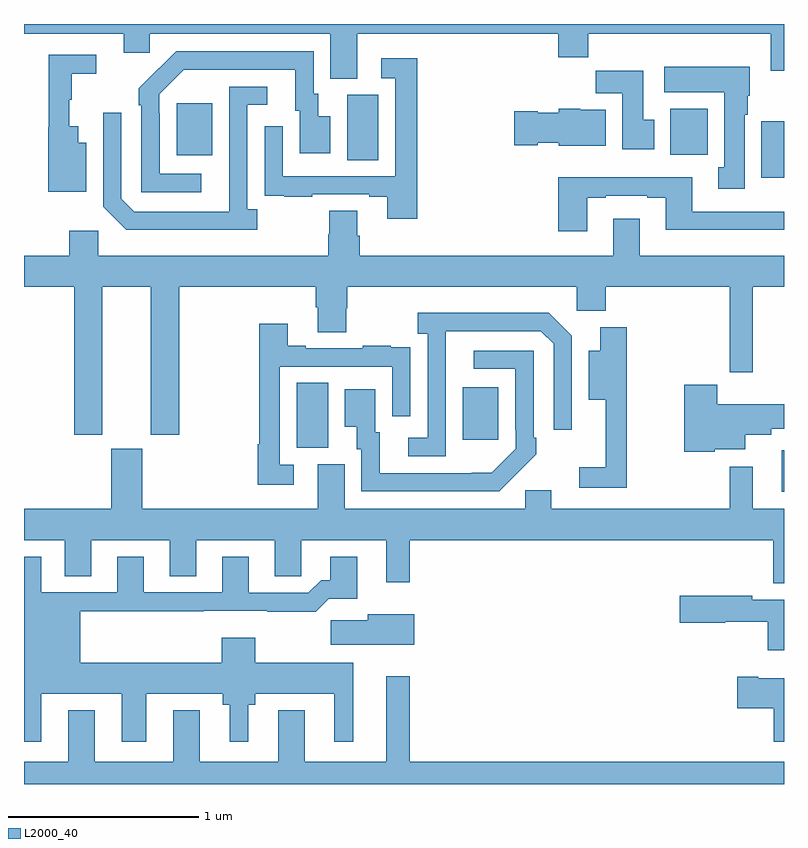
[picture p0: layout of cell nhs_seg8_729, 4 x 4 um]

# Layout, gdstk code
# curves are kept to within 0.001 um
import gdstk
lib = gdstk.Library(unit=1e-6, precision=1e-09)
def R(c, l, rs):  # rectangles x0, y0, x1, y1
    for r in rs: c.add(gdstk.rectangle(r[:2], r[2:], *l))
def P(c, l, *ps):  # polygons
    for p in ps: c.add(gdstk.Polygon(p, *l))
L2000_40 = (2000, 40)

nhs_seg8_729 = lib.new_cell('nhs_seg8_729')
R(nhs_seg8_729, L2000_40, [(162.989,1099.437,163,1099.657), (160.436,1099.669,160.6,1100.012), (161.309,1099.713,161.497,1099.987), (162.881,1101.092,163,1101.388), (160.7,1101.184,160.864,1101.528), (159.803,1101.209,159.991,1101.484), (162.401,1101.212,162.598,1101.454)])
P(nhs_seg8_729, L2000_40, [(160.753,1101.848),(161.813,1101.848),(161.813,1101.724),(161.969,1101.724),(161.969,1101.848),(162.929,1101.848),(162.929,1101.654),(163,1101.654),(163,1101.9),(159,1101.9),(159,1101.848),(159.524,1101.848),(159.524,1101.75),(159.663,1101.75),(159.663,1101.848),(160.613,1101.848),(160.613,1101.613),(160.753,1101.613)],
  [(159.934,1101.111),(159.714,1101.111),(159.714,1101.431),(159.711,1101.431),(159.711,1101.531),(159.84,1101.66),(160.427,1101.66),(160.427,1101.444),(160.451,1101.444),(160.451,1101.219),(160.612,1101.219),(160.612,1101.415),(160.549,1101.415),(160.549,1101.534),(160.524,1101.534),(160.524,1101.756),(159.8,1101.756),(159.603,1101.561),(159.603,1101.473),(159.618,1101.473),(159.618,1101.015),(159.934,1101.015)],
  [(159.328,1101.274),(159.286,1101.274),(159.286,1101.361),(159.239,1101.361),(159.239,1101.501),(159.25,1101.501),(159.25,1101.637),(159.379,1101.637),(159.379,1101.738),(159.129,1101.738),(159.129,1101.357),(159.128,1101.357),(159.128,1101.017),(159.328,1101.017)],
  [(161.069,1101.721),(160.881,1101.721),(160.881,1101.615),(160.953,1101.615),(160.953,1101.099),(160.362,1101.099),(160.362,1101.361),(160.266,1101.361),(160.266,1101.106),(160.267,1101.106),(160.267,1100.997),(160.369,1100.997),(160.369,1100.991),(160.517,1100.991),(160.517,1101.003),(160.817,1101.003),(160.817,1100.991),(160.913,1100.991),(160.913,1100.874),(161.069,1100.874)],
  [(162.793,1101.422),(162.808,1101.422),(162.808,1101.522),(162.82,1101.522),(162.82,1101.676),(162.369,1101.676),(162.369,1101.542),(162.686,1101.542),(162.686,1101.146),(162.653,1101.146),(162.653,1101.033),(162.793,1101.033)],
  [(162.316,1101.396),(162.259,1101.396),(162.259,1101.655),(162.01,1101.655),(162.01,1101.536),(162.149,1101.536),(162.149,1101.24),(162.316,1101.24)],
  [(160.228,1100.926),(160.176,1100.926),(160.176,1101.474),(160.279,1101.474),(160.279,1101.57),(160.08,1101.57),(160.079,1100.913),(159.579,1100.913),(159.513,1100.979),(159.513,1101.433),(159.417,1101.433),(159.417,1100.937),(159.538,1100.816),(160.228,1100.816)],
  [(162.061,1101.448),(161.928,1101.448),(161.928,1101.454),(161.814,1101.454),(161.814,1101.433),(161.703,1101.433),(161.703,1101.441),(161.58,1101.441),(161.58,1101.263),(161.703,1101.263),(161.703,1101.275),(161.814,1101.275),(161.814,1101.26),(162.061,1101.26)],
  [(161.965,1100.985),(162.061,1100.985),(162.061,1100.997),(162.281,1100.997),(162.281,1100.985),(162.377,1100.985),(162.377,1100.816),(163,1100.816),(163,1100.913),(162.517,1100.913),(162.517,1101.094),(161.813,1101.094),(161.813,1100.808),(161.965,1100.808)],
  [(161.91,1100.39),(162.062,1100.39),(162.062,1100.516),(162.714,1100.516),(162.714,1100.067),(162.835,1100.067),(162.835,1100.516),(163,1100.516),(163,1100.68),(162.241,1100.68),(162.241,1100.875),(162.101,1100.875),(162.101,1100.68),(160.766,1100.68),(160.766,1100.786),(160.753,1100.786),(160.753,1100.918),(160.606,1100.918),(160.606,1100.793),(160.601,1100.793),(160.601,1100.68),(159.39,1100.68),(159.39,1100.812),(159.239,1100.812),(159.239,1100.68),(159,1100.68),(159,1100.516),(159.265,1100.516),(159.265,1099.737),(159.412,1099.737),(159.412,1100.516),(159.668,1100.516),(159.668,1099.737),(159.816,1099.737),(159.816,1100.516),(160.535,1100.516),(160.535,1100.41),(160.547,1100.41),(160.547,1100.278),(160.695,1100.278),(160.695,1100.403),(160.7,1100.403),(160.7,1100.516),(161.91,1100.516)],
  [(161.22,1100.083),(161.221,1100.283),(161.721,1100.283),(161.787,1100.217),(161.787,1099.764),(161.883,1099.764),(161.883,1100.259),(161.762,1100.38),(161.073,1100.38),(161.073,1100.27),(161.124,1100.27),(161.124,1099.722),(161.022,1099.722),(161.022,1099.626),(161.22,1099.626)],
  [(160.42,1099.581),(160.347,1099.581),(160.347,1100.097),(160.938,1100.097),(160.938,1099.836),(161.034,1099.836),(161.034,1100.09),(161.033,1100.09),(161.033,1100.199),(160.931,1100.199),(160.931,1100.206),(160.783,1100.206),(160.783,1100.193),(160.483,1100.193),(160.483,1100.206),(160.387,1100.206),(160.387,1100.323),(160.239,1100.323),(160.239,1099.688),(160.231,1099.688),(160.231,1099.476),(160.42,1099.476)],
  [(162.172,1100.305),(162.032,1100.305),(162.032,1100.179),(161.972,1100.179),(161.972,1099.922),(162.062,1099.922),(162.062,1099.567),(161.922,1099.567),(161.922,1099.458),(162.172,1099.458)],
  [(161.591,1099.531),(161.592,1099.53),(161.697,1099.635),(161.697,1099.723),(161.682,1099.723),(161.682,1100.181),(161.367,1100.181),(161.367,1100.085),(161.586,1100.085),(161.586,1099.765),(161.589,1099.765),(161.589,1099.665),(161.461,1099.537),(160.873,1099.536),(160.873,1099.752),(160.849,1099.752),(160.849,1099.978),(160.688,1099.978),(160.688,1099.781),(160.751,1099.781),(160.751,1099.662),(160.776,1099.662),(160.776,1099.44),(161.5,1099.44)],
  [(162.636,1099.661),(162.796,1099.661),(162.796,1099.739),(162.934,1099.739),(162.934,1099.77),(163,1099.77),(163,1099.9),(162.648,1099.9),(162.648,1100.002),(162.475,1100.002),(162.475,1099.649),(162.636,1099.649)],
  [(163,1099.348),(162.835,1099.348),(162.835,1099.57),(162.714,1099.57),(162.714,1099.348),(161.776,1099.348),(161.776,1099.446),(161.637,1099.446),(161.637,1099.348),(160.687,1099.348),(160.687,1099.584),(160.547,1099.584),(160.547,1099.348),(159.622,1099.348),(159.622,1099.665),(159.458,1099.665),(159.458,1099.348),(159,1099.348),(159,1099.184),(159.215,1099.184),(159.215,1098.994),(159.355,1098.994),(159.355,1099.184),(159.767,1099.184),(159.767,1098.994),(159.907,1098.994),(159.907,1099.184),(160.319,1099.184),(160.319,1098.994),(160.458,1098.994),(160.458,1099.184),(160.907,1099.184),(160.907,1098.963),(161.029,1098.963),(161.029,1099.184),(162.943,1099.184),(162.943,1098.956),(163,1098.956)],
  [(159.091,1098.374),(159.515,1098.374),(159.515,1098.123),(159.643,1098.123),(159.643,1098.374),(160.045,1098.374),(160.045,1098.317),(160.082,1098.317),(160.082,1098.123),(160.18,1098.123),(160.18,1098.317),(160.218,1098.317),(160.218,1098.374),(160.634,1098.374),(160.634,1098.123),(160.732,1098.123),(160.732,1098.538),(160.218,1098.538),(160.218,1098.67),(160.04,1098.67),(160.04,1098.538),(159.295,1098.538),(159.295,1098.808),(159.947,1098.808),(159.947,1098.812),(160.279,1098.812),(160.279,1098.806),(160.535,1098.806),(160.604,1098.875),(160.753,1098.875),(160.753,1099.096),(160.613,1099.096),(160.613,1098.973),(160.564,1098.973),(160.497,1098.906),(160.183,1098.906),(160.183,1099.096),(160.043,1099.096),(160.043,1098.909),(159.631,1098.909),(159.631,1099.096),(159.491,1099.096),(159.491,1098.909),(159.091,1098.909),(159.091,1099.096),(159,1099.096),(159,1098.123),(159.091,1098.123)],
  [(163,1098.871),(162.834,1098.871),(162.834,1098.891),(162.45,1098.891),(162.45,1098.749),(162.69,1098.749),(162.69,1098.754),(162.914,1098.754),(162.914,1098.605),(163,1098.605)],
  [(161.053,1098.793),(160.808,1098.793),(160.808,1098.761),(160.614,1098.761),(160.614,1098.632),(161.053,1098.632)],
  [(163,1098.016),(161.029,1098.016),(161.029,1098.466),(160.907,1098.466),(160.907,1098.016),(160.477,1098.016),(160.477,1098.289),(160.337,1098.289),(160.337,1098.016),(159.925,1098.016),(159.925,1098.289),(159.785,1098.289),(159.785,1098.016),(159.373,1098.016),(159.373,1098.289),(159.233,1098.289),(159.233,1098.016),(159,1098.016),(159,1097.9),(163,1097.9)],
  [(163,1098.457),(162.865,1098.457),(162.865,1098.465),(162.753,1098.465),(162.753,1098.299),(162.946,1098.299),(162.946,1098.123),(163,1098.123)])

lib.write_gds('nhs_seg8_729.gds')
